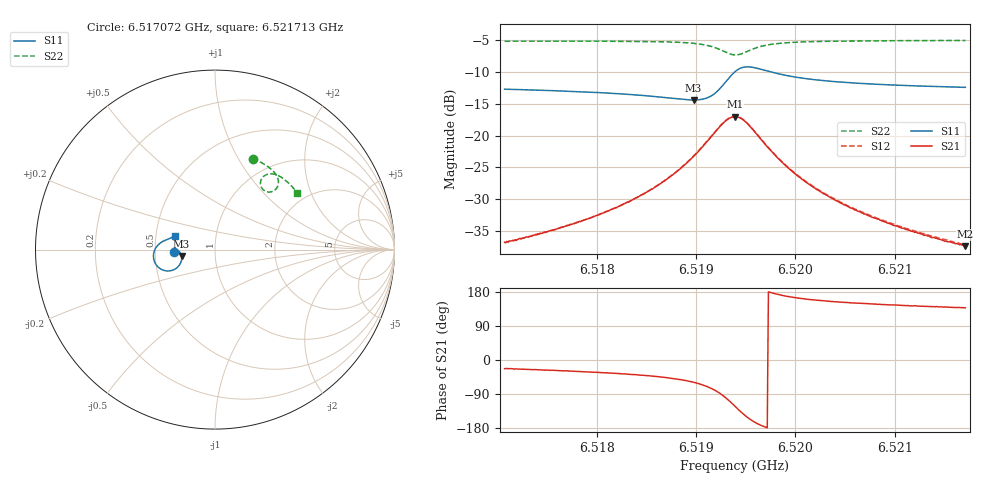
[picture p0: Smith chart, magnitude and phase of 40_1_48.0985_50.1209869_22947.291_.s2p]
#  HZ  S  RI  R  50.00
! Rohde & Schwarz Vector Network Analyzer
! Rohde-Schwarz,ZNB20-2Port,1311601062101988,3.16
! Created: UTC 12/23/2023, 3:38:37 AM
! freq[Hz]  re:S11  im:S11  re:S21  im:S21  re:S12  im:S12  re:S22  im:S22
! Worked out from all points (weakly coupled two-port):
!   401 points, 6.517072 GHz to 6.521713 GHz, reference 50 ohm
!   highest |S21| = -17.04 dB at 6.519392 GHz (marker M1); lowest = -37.4 dB at 6.521713 GHz (marker M2)
!   lowest |S11| = -14.4 dB at 6.518975 GHz (marker M3), VSWR 1.47, Z = 34.2 - j2.48 ohm
!   |S11| at or under -10 dB: start of sweep to 6.519392 GHz; 6.519745 GHz to end of sweep
!   |S22| runs from -7.4 to -5.1 dB; largest |S21 - S12| = 0.0042
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6.5170722e9  -0.2301 -0.0157  0.0134 -0.00569  0.0135 -0.005  0.209 0.5072
6.5175711e9  -0.2243 -0.00871  0.0163 -0.00835  0.0164 -0.00792  0.2457 0.4908
6.5178495e9  -0.22 -0.00587  0.0185 -0.011  0.0187 -0.0104  0.2665 0.4799
6.5183367e9  -0.2096 -0.00445  0.0241 -0.0189  0.0248 -0.0181  0.3032 0.456
6.5186268e9  -0.2004 -0.00919  0.0296 -0.0287  0.0305 -0.0279  0.3257 0.4357
6.5188124e9  -0.193 -0.0182  0.0334 -0.0406  0.0349 -0.0398  0.3402 0.4175
6.5189748e9  -0.1866 -0.0349  0.0356 -0.0586  0.0376 -0.0579  0.351 0.3947
6.5190908e9  -0.1864 -0.0564  0.0322 -0.0797  0.0347 -0.0793  0.3536 0.371
6.519172e9  -0.1937 -0.0785  0.0222 -0.0995  0.0254 -0.0996  0.3483 0.3504
6.5192996e9  -0.2374 -0.1152  -0.0222 -0.1285  -0.0188 -0.13  0.3142 0.3219
6.519346e9  -0.2658 -0.1191  -0.0483 -0.1289  -0.0451 -0.1313  0.2935 0.3211
6.5193924e9  -0.2962 -0.1113  -0.0748 -0.119  -0.072 -0.1221  0.2733 0.3298
6.5194389e9  -0.3216 -0.0923  -0.0954 -0.0994  -0.0934 -0.103  0.2589 0.3465
6.5194969e9  -0.3394 -0.0604  -0.1078 -0.0696  -0.1066 -0.0733  0.2531 0.3712
6.5195897e9  -0.3399 -0.0137  -0.103 -0.0296  -0.1029 -0.0328  0.2654 0.4022
6.5196941e9  -0.3237 0.0182  -0.0855 -0.00481  -0.0862 -0.00733  0.2886 0.4183
6.5199145e9  -0.2916 0.0449  -0.0557 0.0118  -0.0566 0.0103  0.3286 0.4206
6.5201697e9  -0.2697 0.0551  -0.0371 0.0143  -0.0381 0.0134  0.3591 0.4092
6.5205294e9  -0.2524 0.062  -0.0244 0.0133  -0.025 0.0127  0.3893 0.3887
6.520947e9  -0.2402 0.0681  -0.0168 0.0115  -0.0173 0.0112  0.4167 0.364
6.5213531e9  -0.2316 0.0735  -0.0126 0.0101  -0.0131 0.00991  0.4392 0.3393
6.5217127e9  -0.2253 0.0785  -0.01 0.00913  -0.0105 0.00904  0.4569 0.317
